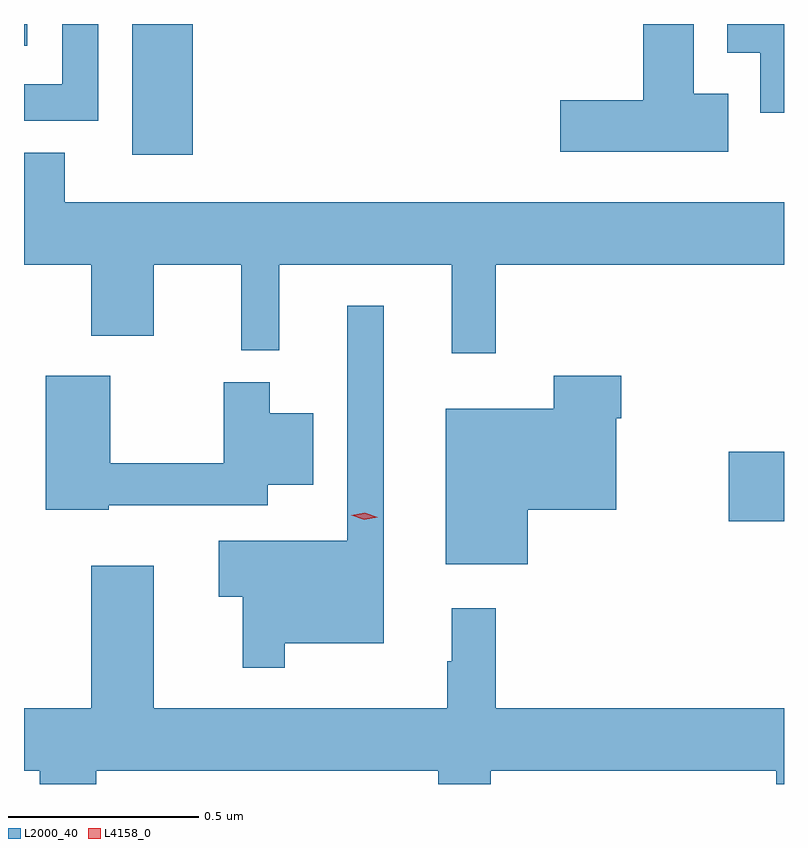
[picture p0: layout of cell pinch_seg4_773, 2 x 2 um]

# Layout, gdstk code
import gdstk
lib = gdstk.Library(unit=1e-6, precision=1e-09)
def R(c, l, rs):  # rectangles x0, y0, x1, y1
    for r in rs: c.add(gdstk.rectangle(r[:2], r[2:], *l))
def P(c, l, *ps):  # polygons
    for p in ps: c.add(gdstk.Polygon(p, *l))
L2000_40 = (2000, 40)
L4158_0 = (4158, 0)

pinch_seg4_773 = lib.new_cell('pinch_seg4_773')
R(pinch_seg4_773, L2000_40, [(790.062,818.789,790.207,818.972), (788.492,819.753,788.651,820.097), (788.207,820.04,788.215,820.097)])
P(pinch_seg4_773, L2000_40, [(790.207,820.097),(790.058,820.097),(790.058,820.022),(790.145,820.022),(790.145,819.864),(790.207,819.864)],
  [(790.06,819.913),(789.97,819.913),(789.97,820.097),(789.836,820.097),(789.836,819.896),(789.618,819.896),(789.618,819.761),(790.06,819.761)],
  [(788.403,820.097),(788.307,820.097),(788.307,819.939),(788.207,819.939),(788.207,819.843),(788.403,819.843)],
  [(788.314,819.758),(788.207,819.758),(788.207,819.464),(788.384,819.464),(788.384,819.276),(788.548,819.276),(788.548,819.464),(788.779,819.464),(788.779,819.239),(788.879,819.239),(788.879,819.464),(789.332,819.464),(789.332,819.231),(789.449,819.231),(789.449,819.464),(790.207,819.464),(790.207,819.628),(788.314,819.628)],
  [(788.893,818.468),(789.154,818.468),(789.154,819.355),(789.057,819.355),(789.057,818.737),(788.72,818.737),(788.72,818.59),(788.782,818.59),(788.782,818.403),(788.893,818.403)],
  [(789.532,818.819),(789.766,818.819),(789.766,819.059),(789.779,819.059),(789.779,819.172),(789.601,819.172),(789.601,819.085),(789.317,819.085),(789.317,818.675),(789.532,818.675)],
  [(788.43,818.831),(788.848,818.831),(788.848,818.885),(788.968,818.885),(788.968,819.073),(788.854,819.073),(788.854,819.154),(788.732,819.154),(788.732,818.941),(788.434,818.941),(788.434,819.172),(788.264,819.172),(788.264,818.819),(788.43,818.819)],
  [(788.548,818.671),(788.384,818.671),(788.384,818.296),(788.207,818.296),(788.207,818.132),(788.249,818.132),(788.249,818.097),(788.397,818.097),(788.397,818.132),(789.297,818.132),(789.297,818.097),(789.435,818.097),(789.435,818.132),(790.187,818.132),(790.187,818.097),(790.207,818.097),(790.207,818.296),(789.449,818.296),(789.449,818.56),(789.332,818.56),(789.332,818.42),(789.321,818.42),(789.321,818.296),(788.548,818.296)])
P(pinch_seg4_773, L4158_0, [(789.102,818.792),(789.068,818.804),(789.067,818.804),(789.068,818.804),(789.104,818.811),(789.138,818.799),(789.138,818.799),(789.138,818.799)])

lib.write_gds('pinch_seg4_773.gds')
